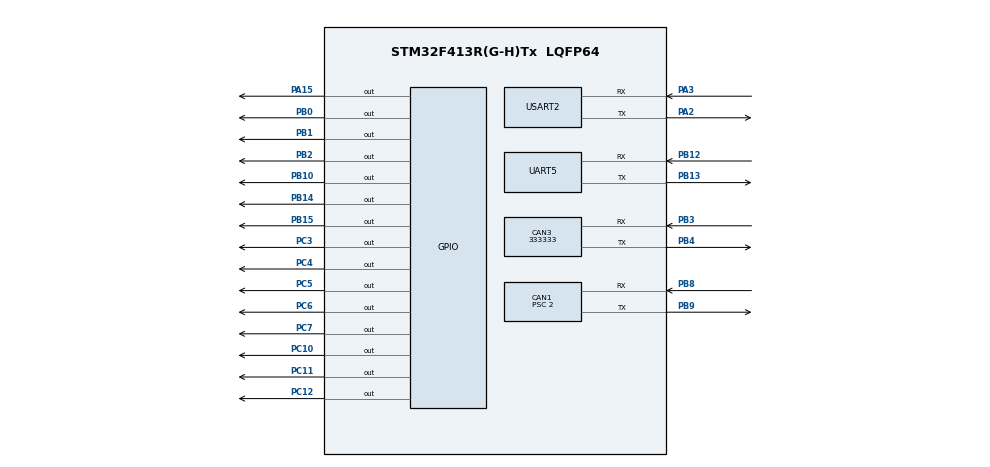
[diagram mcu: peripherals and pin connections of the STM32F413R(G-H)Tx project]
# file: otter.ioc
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CAN1.BS1=CAN_BS1_14TQ
CAN1.CalculateBaudRate=500000
CAN1.CalculateTimeBit=2000
CAN1.CalculateTimeQuantum=125.0
CAN1.Prescaler=2
CAN3.CalculateBaudRate=333333
CAN3.CalculateTimeBit=3000
CAN3.CalculateTimeQuantum=1000.0
Mcu.Family=STM32F4
Mcu.Name=STM32F413R(G-H)Tx
Mcu.Package=LQFP64
NVIC.PriorityGroup=NVIC_PRIORITYGROUP_4
PA15.Signal=GPIO_Output
PA2.Mode=Asynchronous
PA2.Signal=USART2_TX
PA3.Mode=Asynchronous
PA3.Signal=USART2_RX
PB0.Signal=GPIO_Output
PB1.Signal=GPIO_Output
PB10.Signal=GPIO_Output
PB12.Mode=Asynchronous
PB12.Signal=UART5_RX
PB13.Mode=Asynchronous
PB13.Signal=UART5_TX
PB14.Signal=GPIO_Output
PB15.Signal=GPIO_Output
PB2.Signal=GPIO_Output
PB3.Mode=CAN_Activate
PB3.Signal=CAN3_RX
PB4.Mode=CAN_Activate
PB4.Signal=CAN3_TX
PB8.Mode=CAN_Activate
PB8.Signal=CAN1_RX
PB9.Mode=CAN_Activate
PB9.Signal=CAN1_TX
PC10.Signal=GPIO_Output
PC11.Signal=GPIO_Output
PC12.Signal=GPIO_Output
PC3.Signal=GPIO_Output
PC4.Signal=GPIO_Output
PC5.Signal=GPIO_Output
PC6.Signal=GPIO_Output
PC7.Signal=GPIO_Output
ProjectManager.HeapSize=0x200
ProjectManager.StackSize=0x400
ProjectManager.TargetToolchain=STM32CubeIDE
RCC.CortexFreq_Value=16000000
RCC.USBFreq_Value=96000000
RCC.VCOOutputFreq_Value=192000000
UART5.VirtualMode=Asynchronous
USART2.VirtualMode=VM_ASYNC
board=custom

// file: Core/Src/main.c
/* USER CODE BEGIN Header */
/**
  ******************************************************************************
  * @file           : main.c
  * @brief          : Main program body
  ******************************************************************************
  * @attention
  *
  * Copyright (c) 2025 STMicroelectronics.
  * All rights reserved.
  *
  * This software is licensed under terms that can be found in the LICENSE file
  * in the root directory of this software component.
  * If no LICENSE file comes with this software, it is provided AS-IS.
  *
  ******************************************************************************
  */
/* USER CODE END Header */
#include "main.h"

CAN_HandleTypeDef hcan1;
CAN_HandleTypeDef hcan3;

UART_HandleTypeDef huart5;
UART_HandleTypeDef huart2;

void SystemClock_Config(void);
static void MX_GPIO_Init(void);
static void MX_CAN1_Init(void);
static void MX_CAN3_Init(void);
static void MX_UART5_Init(void);
static void MX_USART2_UART_Init(void);

int main(void)
{

  /* MCU Configuration--------------------------------------------------------*/

  /* Reset of all peripherals, Initializes the Flash interface and the Systick. */
  HAL_Init();

  /* Configure the system clock */
  SystemClock_Config();

  /* Initialize all configured peripherals */
  MX_GPIO_Init();
  MX_CAN1_Init();
  MX_CAN3_Init();
  MX_UART5_Init();
  MX_USART2_UART_Init();
  /* USER CODE BEGIN 2 */

  // Toggle LED on Start
  // --------------------------------------------
  HAL_GPIO_TogglePin(GPIOC, GPIO_PIN_3);
  HAL_Delay(1000);
  HAL_GPIO_TogglePin(GPIOC, GPIO_PIN_3);

  // Set up FIlter
  // --------------------------------------------
  CAN_FilterTypeDef filterConfig;
  // Set the bits of the 32bit ID Register
    // Note: does not matter what these are since Mask will be 0x00000000
  filterConfig.FilterIdHigh = 0x0000;
  filterConfig.FilterIdLow = 0x0000;
  // Set the bits of the MASK Register. If a bit is set, the corresponding bit of the
    // received ID will be compared with the corresponding bit of the ID Register. If
    // all bits that the mask requies to be checked match, then the CAN ID is accepted.
  filterConfig.FilterMaskIdHigh = 0x0000;
  filterConfig.FilterMaskIdLow = 0x0000;
    // B/c we want to receive all CAN IDs, do not check any bits
  filterConfig.FilterFIFOAssignment = CAN_RX_FIFO0;
  // This struct if for filter bank 0
    // Note: can call the config filter with this struct again but change which
    // bank we are talking about.
  filterConfig.FilterBank = 0;
  // 2 Options: MASK mode or LIST mode
    // Mask mode: use the Mask to compare the bits
    // List mode: you can only compare and accept two CAN IDs (if 32 bit ID register) or four CAN IDs (if two 16 bit regsiters)
  filterConfig.FilterMode = CAN_FILTERMODE_IDMASK;
  // 32 bit ID vs two 16 bit ID register
    // For us does not matter b/c its just all 0s
  filterConfig.FilterScale = CAN_FILTERSCALE_32BIT;
  // Enable this filter bank
  filterConfig.FilterActivation = ENABLE;
  // We are not giving any filters to the slave can (CAN2)
    // We are only using CAN1 and CAN3
  filterConfig.SlaveStartFilterBank = 0;
  HAL_CAN_ConfigFilter(&hcan1, &filterConfig);

  // Start Can 1
  // --------------------------------------------
  HAL_CAN_Start(&hcan1);

  // Transmit Stuff
  // --------------------------------------------
  CAN_TxHeaderTypeDef   TxHeader;
  uint32_t              TxMailbox;  // while mailbox gets used is written here
  uint8_t               TxData[8];
  TxHeader.StdId = 0x11;
  TxHeader.RTR = CAN_RTR_DATA;
  TxHeader.IDE = CAN_ID_STD;
  TxHeader.DLC = 2;
  TxHeader.TransmitGlobalTime = DISABLE;
  TxData[0] = 0xCA;
  TxData[1] = 0xFE;

  /* USER CODE END 2 */

  /* Infinite loop */
  while (1)
  {

    /* USER CODE BEGIN 3 */
    HAL_CAN_AddTxMessage(&hcan1, &TxHeader, TxData, &TxMailbox);

    HAL_Delay(100);
    if(HAL_CAN_GetTxMailboxesFreeLevel(&hcan1) == 0){
      HAL_CAN_AbortTxRequest(&hcan1, 7);
    }

    // Message Sent, toggle LED real quick
    HAL_GPIO_TogglePin(GPIOC, GPIO_PIN_3);
    HAL_Delay(500);
    HAL_GPIO_TogglePin(GPIOC, GPIO_PIN_3);

    CAN_RxHeaderTypeDef rxHeader;
    uint8_t rxData[8];

    // Check if there are messages in the FIFO
    if (HAL_CAN_GetRxFifoFillLevel(&hcan1, CAN_RX_FIFO0))
    {
        if (HAL_CAN_GetRxMessage(&hcan1, CAN_RX_FIFO0, &rxHeader, rxData) == HAL_OK)
        {
            for(int i = 0; i < 5; i++){
              HAL_GPIO_TogglePin(GPIOC, GPIO_PIN_3);
              HAL_Delay(100);
            }
        }
    }

  }
  /* USER CODE END 3 */
}

void SystemClock_Config(void)
{
  RCC_OscInitTypeDef RCC_OscInitStruct = {0};
  RCC_ClkInitTypeDef RCC_ClkInitStruct = {0};

  /** Configure the main internal regulator output voltage
  */
  __HAL_RCC_PWR_CLK_ENABLE();
  __HAL_PWR_VOLTAGESCALING_CONFIG(PWR_REGULATOR_VOLTAGE_SCALE1);

  /** Initializes the RCC Oscillators according to the specified parameters
  * in the RCC_OscInitTypeDef structure.
  */
  RCC_OscInitStruct.OscillatorType = RCC_OSCILLATORTYPE_HSI;
  RCC_OscInitStruct.HSIState = RCC_HSI_ON;
  RCC_OscInitStruct.HSICalibrationValue = RCC_HSICALIBRATION_DEFAULT;
  RCC_OscInitStruct.PLL.PLLState = RCC_PLL_NONE;
  if (HAL_RCC_OscConfig(&RCC_OscInitStruct) != HAL_OK)
  {
    Error_Handler();
  }

  /** Initializes the CPU, AHB and APB buses clocks
  */
  RCC_ClkInitStruct.ClockType = RCC_CLOCKTYPE_HCLK|RCC_CLOCKTYPE_SYSCLK
                              |RCC_CLOCKTYPE_PCLK1|RCC_CLOCKTYPE_PCLK2;
  RCC_ClkInitStruct.SYSCLKSource = RCC_SYSCLKSOURCE_HSI;
  RCC_ClkInitStruct.AHBCLKDivider = RCC_SYSCLK_DIV1;
  RCC_ClkInitStruct.APB1CLKDivider = RCC_HCLK_DIV1;
  RCC_ClkInitStruct.APB2CLKDivider = RCC_HCLK_DIV1;

  if (HAL_RCC_ClockConfig(&RCC_ClkInitStruct, FLASH_LATENCY_0) != HAL_OK)
  {
    Error_Handler();
  }
}

static void MX_CAN1_Init(void)
{

  hcan1.Instance = CAN1;
  hcan1.Init.Prescaler = 2;
  hcan1.Init.Mode = CAN_MODE_NORMAL;
  hcan1.Init.SyncJumpWidth = CAN_SJW_1TQ;
  hcan1.Init.TimeSeg1 = CAN_BS1_14TQ;
  hcan1.Init.TimeSeg2 = CAN_BS2_1TQ;
  hcan1.Init.TimeTriggeredMode = DISABLE;
  hcan1.Init.AutoBusOff = DISABLE;
  hcan1.Init.AutoWakeUp = DISABLE;
  hcan1.Init.AutoRetransmission = DISABLE;
  hcan1.Init.ReceiveFifoLocked = DISABLE;
  hcan1.Init.TransmitFifoPriority = DISABLE;
  if (HAL_CAN_Init(&hcan1) != HAL_OK)
  {
    Error_Handler();
  }

}

static void MX_CAN3_Init(void)
{

  hcan3.Instance = CAN3;
  hcan3.Init.Prescaler = 16;
  hcan3.Init.Mode = CAN_MODE_NORMAL;
  hcan3.Init.SyncJumpWidth = CAN_SJW_1TQ;
  hcan3.Init.TimeSeg1 = CAN_BS1_1TQ;
  hcan3.Init.TimeSeg2 = CAN_BS2_1TQ;
  hcan3.Init.TimeTriggeredMode = DISABLE;
  hcan3.Init.AutoBusOff = DISABLE;
  hcan3.Init.AutoWakeUp = DISABLE;
  hcan3.Init.AutoRetransmission = DISABLE;
  hcan3.Init.ReceiveFifoLocked = DISABLE;
  hcan3.Init.TransmitFifoPriority = DISABLE;
  if (HAL_CAN_Init(&hcan3) != HAL_OK)
  {
    Error_Handler();
  }

}

static void MX_UART5_Init(void)
{

  huart5.Instance = UART5;
  huart5.Init.BaudRate = 115200;
  huart5.Init.WordLength = UART_WORDLENGTH_8B;
  huart5.Init.StopBits = UART_STOPBITS_1;
  huart5.Init.Parity = UART_PARITY_NONE;
  huart5.Init.Mode = UART_MODE_TX_RX;
  huart5.Init.HwFlowCtl = UART_HWCONTROL_NONE;
  huart5.Init.OverSampling = UART_OVERSAMPLING_16;
  if (HAL_UART_Init(&huart5) != HAL_OK)
  {
    Error_Handler();
  }

}

static void MX_USART2_UART_Init(void)
{

  huart2.Instance = USART2;
  huart2.Init.BaudRate = 115200;
  huart2.Init.WordLength = UART_WORDLENGTH_8B;
  huart2.Init.StopBits = UART_STOPBITS_1;
  huart2.Init.Parity = UART_PARITY_NONE;
  huart2.Init.Mode = UART_MODE_TX_RX;
  huart2.Init.HwFlowCtl = UART_HWCONTROL_NONE;
  huart2.Init.OverSampling = UART_OVERSAMPLING_16;
  if (HAL_UART_Init(&huart2) != HAL_OK)
  {
    Error_Handler();
  }

}

static void MX_GPIO_Init(void)
{
  GPIO_InitTypeDef GPIO_InitStruct = {0};

  /* GPIO Ports Clock Enable */
  __HAL_RCC_GPIOC_CLK_ENABLE();
  __HAL_RCC_GPIOA_CLK_ENABLE();
  __HAL_RCC_GPIOB_CLK_ENABLE();

  /*Configure GPIO pin Output Level */
  HAL_GPIO_WritePin(GPIOC, GPIO_PIN_3|GPIO_PIN_4|GPIO_PIN_5|GPIO_PIN_6
                          |GPIO_PIN_7|GPIO_PIN_10|GPIO_PIN_11|GPIO_PIN_12, GPIO_PIN_RESET);

  /*Configure GPIO pin Output Level */
  HAL_GPIO_WritePin(GPIOB, GPIO_PIN_0|GPIO_PIN_1|GPIO_PIN_2|GPIO_PIN_10
                          |GPIO_PIN_14|GPIO_PIN_15, GPIO_PIN_RESET);

  /*Configure GPIO pin Output Level */
  HAL_GPIO_WritePin(GPIOA, GPIO_PIN_15, GPIO_PIN_RESET);

  /*Configure GPIO pins : PC3 PC4 PC5 PC6
                           PC7 PC10 PC11 PC12 */
  GPIO_InitStruct.Pin = GPIO_PIN_3|GPIO_PIN_4|GPIO_PIN_5|GPIO_PIN_6
                          |GPIO_PIN_7|GPIO_PIN_10|GPIO_PIN_11|GPIO_PIN_12;
  GPIO_InitStruct.Mode = GPIO_MODE_OUTPUT_PP;
  GPIO_InitStruct.Pull = GPIO_NOPULL;
  GPIO_InitStruct.Speed = GPIO_SPEED_FREQ_LOW;
  HAL_GPIO_Init(GPIOC, &GPIO_InitStruct);

  /*Configure GPIO pins : PB0 PB1 PB2 PB10
                           PB14 PB15 */
  GPIO_InitStruct.Pin = GPIO_PIN_0|GPIO_PIN_1|GPIO_PIN_2|GPIO_PIN_10
                          |GPIO_PIN_14|GPIO_PIN_15;
  GPIO_InitStruct.Mode = GPIO_MODE_OUTPUT_PP;
  GPIO_InitStruct.Pull = GPIO_NOPULL;
  GPIO_InitStruct.Speed = GPIO_SPEED_FREQ_LOW;
  HAL_GPIO_Init(GPIOB, &GPIO_InitStruct);

  /*Configure GPIO pin : PA15 */
  GPIO_InitStruct.Pin = GPIO_PIN_15;
  GPIO_InitStruct.Mode = GPIO_MODE_OUTPUT_PP;
  GPIO_InitStruct.Pull = GPIO_NOPULL;
  GPIO_InitStruct.Speed = GPIO_SPEED_FREQ_LOW;
  HAL_GPIO_Init(GPIOA, &GPIO_InitStruct);

}

void Error_Handler(void)
{
  __disable_irq();
  while (1)
  {
  }
}
